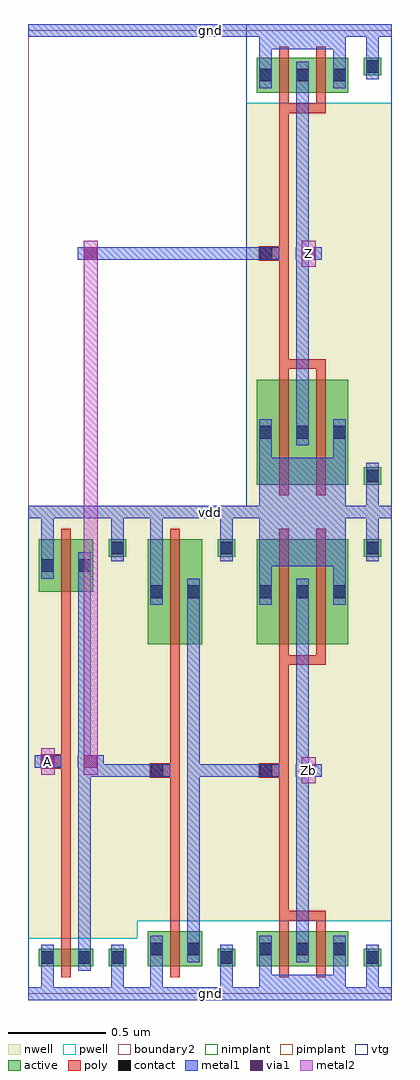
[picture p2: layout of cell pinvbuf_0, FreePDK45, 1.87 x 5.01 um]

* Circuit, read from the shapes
.subckt pinvbuf_0 A Z Zb gnd vdd
M1 pinv_6_1/A A gnd gnd nfet w=0.09u l=0.05u
M2 pinv_7_2/A pinv_6_1/A gnd gnd nfet w=0.18u l=0.05u
M3 Zb pinv_7_2/A gnd gnd nfet w=0.18u l=0.05u m=2
M4 Z pinv_6_1/A gnd gnd nfet w=0.18u l=0.05u m=2
M5 pinv_6_1/A A vdd vdd pfet w=0.27u l=0.05u
M6 pinv_7_2/A pinv_6_1/A vdd vdd pfet w=0.54u l=0.05u
M7 Zb pinv_7_2/A vdd vdd pfet w=0.54u l=0.05u m=2
M8 Z pinv_6_1/A vdd vdd pfet w=0.54u l=0.05u m=2
.ends

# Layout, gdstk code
import gdstk
lib = gdstk.Library(unit=1e-6, precision=5e-10)
def R(c, l, rs):  # rectangles x0, y0, x1, y1
    for r in rs: c.add(gdstk.rectangle(r[:2], r[2:], *l))
def A(c, l, x, y, w, h, nx, ny, dx, dy):  # array of equal rectangles
    R(c, l, [(x+i*dx, y+j*dy, x+i*dx+w, y+j*dy+h) for i in range(nx) for j in range(ny)])
active = (1, 0)
pwell = (2, 0)
nwell = (3, 0)
nimplant = (4, 0)
pimplant = (5, 0)
vtg = (6, 0)
poly = (9, 0)
contact = (10, 0)
metal1 = (11, 0)
via1 = (12, 0)
metal2 = (13, 0)
boundary2 = (239, 0)

contact_9 = lib.new_cell('contact_9')
R(contact_9, active, [(0,0.0225,0.09,0.1125)])
R(contact_9, nwell, [(-0.055,-0.0325,0.145,0.1675)])
R(contact_9, pimplant, [(0,0.0225,0.09,0.1125)])
R(contact_9, contact, [(0.0125,0.035,0.0775,0.1)])
R(contact_9, metal1, [(0.0125,0,0.0775,0.135)])

pmos_m1_w0_270_a_p = lib.new_cell('pmos_m1_w0_270_a_p')
R(pmos_m1_w0_270_a_p, active, [(0,0,0.28,0.27)])
R(pmos_m1_w0_270_a_p, nwell, [(-0.055,-0.055,0.335,0.325)])
R(pmos_m1_w0_270_a_p, pimplant, [(0,0,0.28,0.27)])
R(pmos_m1_w0_270_a_p, vtg, [(-0.055,-0.055,0.335,0.325)])
R(pmos_m1_w0_270_a_p, poly, [(0.115,-0.055,0.165,0.325), (0.115,-0.055,0.165,0.325)])
R(pmos_m1_w0_270_a_p, metal1, [(0.0125,0.0675,0.0775,0.2025), (0.2025,0.0675,0.2675,0.2025)])
pmos_m1_w0_270_a_p.add(gdstk.Reference(contact_9, (0,0.0675)))
pmos_m1_w0_270_a_p.add(gdstk.Reference(contact_9, (0.19,0.0675)))
pmos_m1_w0_270_a_p.add(gdstk.Label('G', (0.14,0.135), layer=9, texttype=0))
pmos_m1_w0_270_a_p.add(gdstk.Label('S', (0.045,0.135), layer=11, texttype=0))
pmos_m1_w0_270_a_p.add(gdstk.Label('D', (0.235,0.135), layer=11, texttype=0))

contact_14 = lib.new_cell('contact_14')
R(contact_14, active, [(0,0.0225,0.09,0.1125)])
R(contact_14, pwell, [(-0.055,-0.0325,0.145,0.1675)])
R(contact_14, nimplant, [(0,0.0225,0.09,0.1125)])
R(contact_14, contact, [(0.0125,0.035,0.0775,0.1)])
R(contact_14, metal1, [(0.0125,0,0.0775,0.135)])

nmos_m1_w0_090_a_p = lib.new_cell('nmos_m1_w0_090_a_p')
R(nmos_m1_w0_090_a_p, active, [(0,0,0.28,0.09)])
R(nmos_m1_w0_090_a_p, pwell, [(-0.055,-0.055,0.335,0.145)])
R(nmos_m1_w0_090_a_p, nimplant, [(0,0,0.28,0.09)])
R(nmos_m1_w0_090_a_p, vtg, [(-0.055,-0.055,0.335,0.145)])
R(nmos_m1_w0_090_a_p, poly, [(0.115,-0.055,0.165,0.145), (0.115,-0.055,0.165,0.145)])
R(nmos_m1_w0_090_a_p, metal1, [(0.0125,-0.0225,0.0775,0.1125), (0.2025,-0.0225,0.2675,0.1125)])
nmos_m1_w0_090_a_p.add(gdstk.Reference(contact_14, (0,-0.0225)))
nmos_m1_w0_090_a_p.add(gdstk.Reference(contact_14, (0.19,-0.0225)))
nmos_m1_w0_090_a_p.add(gdstk.Label('G', (0.14,0.045), layer=9, texttype=0))
nmos_m1_w0_090_a_p.add(gdstk.Label('S', (0.045,0.045), layer=11, texttype=0))
nmos_m1_w0_090_a_p.add(gdstk.Label('D', (0.235,0.045), layer=11, texttype=0))

contact_18 = lib.new_cell('contact_18')
R(contact_18, active, [(0,0.0225,0.09,0.1125)])
R(contact_18, nwell, [(-0.055,-0.0325,0.145,0.1675)])
R(contact_18, nimplant, [(0,0.0225,0.09,0.1125)])
R(contact_18, contact, [(0.0125,0.035,0.0775,0.1)])
R(contact_18, metal1, [(0.0125,0,0.0775,0.135)])

contact_19 = lib.new_cell('contact_19')
R(contact_19, active, [(0,0.0225,0.09,0.1125)])
R(contact_19, pwell, [(-0.055,-0.0325,0.145,0.1675)])
R(contact_19, pimplant, [(0,0.0225,0.09,0.1125)])
R(contact_19, contact, [(0.0125,0.035,0.0775,0.1)])
R(contact_19, metal1, [(0.0125,0,0.0775,0.135)])

contact_10 = lib.new_cell('contact_10')
R(contact_10, poly, [(0.03,0,0.105,0.075)])
R(contact_10, contact, [(0.035,0.005,0.1,0.07)])
R(contact_10, metal1, [(0,0.005,0.135,0.07)])

pinv_5 = lib.new_cell('pinv_5')
R(pinv_5, pwell, [(0,-0.0325,0.56,0.285)])
R(pinv_5, nwell, [(0,0.285,0.56,2.5075)])
R(pinv_5, vtg, [(0,-0.0325,0.56,0.285), (0,0.285,0.56,2.5075)])
R(pinv_5, poly, [(0.17,0.085,0.22,2.01), (0.1025,1.155,0.17,1.23)])
R(pinv_5, metal1, [(0,-0.0325,0.56,0.0325), (0.0675,-0.0325,0.1325,0.1175), (0.4275,0,0.4925,0.185), (0.2575,0.1175,0.3225,2.2675), (0.035,1.16,0.17,1.225), (0.29,1.16,0.355,1.225), (0.0675,2.1325,0.1325,2.5075), (0.4275,2.29,0.4925,2.475), (0,2.4425,0.56,2.5075)])
R(pinv_5, boundary2, [(0,0,0.56,2.475)])
pinv_5.add(gdstk.Reference(pmos_m1_w0_270_a_p, (0.055,2.065)))
pinv_5.add(gdstk.Reference(nmos_m1_w0_090_a_p, (0.055,0.14)))
pinv_5.add(gdstk.Reference(contact_18, (0.415,2.2225)))
pinv_5.add(gdstk.Reference(contact_19, (0.415,0.1175)))
pinv_5.add(gdstk.Reference(contact_10, (0.035,1.155)))
pinv_5.add(gdstk.Label('gnd', (0.28,0), layer=11, texttype=0))
pinv_5.add(gdstk.Label('vdd', (0.28,2.475), layer=11, texttype=0))
pinv_5.add(gdstk.Label('A', (0.1025,1.1925), layer=11, texttype=0))
pinv_5.add(gdstk.Label('Z', (0.3225,1.1925), layer=11, texttype=0))

pmos_m1_w0_540_a_p = lib.new_cell('pmos_m1_w0_540_a_p')
R(pmos_m1_w0_540_a_p, active, [(0,0,0.28,0.54)])
R(pmos_m1_w0_540_a_p, nwell, [(-0.055,-0.055,0.335,0.595)])
R(pmos_m1_w0_540_a_p, pimplant, [(0,0,0.28,0.54)])
R(pmos_m1_w0_540_a_p, vtg, [(-0.055,-0.055,0.335,0.595)])
R(pmos_m1_w0_540_a_p, poly, [(0.115,-0.055,0.165,0.595), (0.115,-0.055,0.165,0.595)])
R(pmos_m1_w0_540_a_p, metal1, [(0.0125,0.2025,0.0775,0.3375), (0.2025,0.2025,0.2675,0.3375)])
pmos_m1_w0_540_a_p.add(gdstk.Reference(contact_9, (0,0.2025)))
pmos_m1_w0_540_a_p.add(gdstk.Reference(contact_9, (0.19,0.2025)))
pmos_m1_w0_540_a_p.add(gdstk.Label('G', (0.14,0.27), layer=9, texttype=0))
pmos_m1_w0_540_a_p.add(gdstk.Label('S', (0.045,0.27), layer=11, texttype=0))
pmos_m1_w0_540_a_p.add(gdstk.Label('D', (0.235,0.27), layer=11, texttype=0))

nmos_m1_w0_180_a_p = lib.new_cell('nmos_m1_w0_180_a_p')
R(nmos_m1_w0_180_a_p, active, [(0,0,0.28,0.18)])
R(nmos_m1_w0_180_a_p, pwell, [(-0.055,-0.055,0.335,0.235)])
R(nmos_m1_w0_180_a_p, nimplant, [(0,0,0.28,0.18)])
R(nmos_m1_w0_180_a_p, vtg, [(-0.055,-0.055,0.335,0.235)])
R(nmos_m1_w0_180_a_p, poly, [(0.115,-0.055,0.165,0.235), (0.115,-0.055,0.165,0.235)])
R(nmos_m1_w0_180_a_p, metal1, [(0.0125,0.0225,0.0775,0.1575), (0.2025,0.0225,0.2675,0.1575)])
nmos_m1_w0_180_a_p.add(gdstk.Reference(contact_14, (0,0.0225)))
nmos_m1_w0_180_a_p.add(gdstk.Reference(contact_14, (0.19,0.0225)))
nmos_m1_w0_180_a_p.add(gdstk.Label('G', (0.14,0.09), layer=9, texttype=0))
nmos_m1_w0_180_a_p.add(gdstk.Label('S', (0.045,0.09), layer=11, texttype=0))
nmos_m1_w0_180_a_p.add(gdstk.Label('D', (0.235,0.09), layer=11, texttype=0))

pinv_6 = lib.new_cell('pinv_6')
R(pinv_6, pwell, [(0,-0.0325,0.56,0.375)])
R(pinv_6, nwell, [(0,0.375,0.56,2.5075)])
R(pinv_6, vtg, [(0,-0.0325,0.56,0.375), (0,0.375,0.56,2.5075)])
R(pinv_6, poly, [(0.17,0.085,0.22,1.74), (0.1025,1.11,0.17,1.185)])
R(pinv_6, metal1, [(0,-0.0325,0.56,0.0325), (0.0675,-0.0325,0.1325,0.1625), (0.4275,0,0.4925,0.185), (0.2575,0.1625,0.3225,2.1325), (0.035,1.115,0.17,1.18), (0.29,1.115,0.355,1.18), (0.0675,1.9975,0.1325,2.5075), (0.4275,2.29,0.4925,2.475), (0,2.4425,0.56,2.5075)])
R(pinv_6, boundary2, [(0,0,0.56,2.475)])
pinv_6.add(gdstk.Reference(pmos_m1_w0_540_a_p, (0.055,1.795)))
pinv_6.add(gdstk.Reference(nmos_m1_w0_180_a_p, (0.055,0.14)))
pinv_6.add(gdstk.Reference(contact_18, (0.415,2.2225)))
pinv_6.add(gdstk.Reference(contact_19, (0.415,0.1175)))
pinv_6.add(gdstk.Reference(contact_10, (0.035,1.11)))
pinv_6.add(gdstk.Label('gnd', (0.28,0), layer=11, texttype=0))
pinv_6.add(gdstk.Label('vdd', (0.28,2.475), layer=11, texttype=0))
pinv_6.add(gdstk.Label('A', (0.1025,1.1475), layer=11, texttype=0))
pinv_6.add(gdstk.Label('Z', (0.3225,1.1475), layer=11, texttype=0))

pmos_m2_w0_540_a_p = lib.new_cell('pmos_m2_w0_540_a_p')
R(pmos_m2_w0_540_a_p, active, [(0,0,0.47,0.54)])
R(pmos_m2_w0_540_a_p, nwell, [(-0.055,-0.055,0.525,0.595)])
R(pmos_m2_w0_540_a_p, pimplant, [(0,0,0.47,0.54)])
R(pmos_m2_w0_540_a_p, vtg, [(-0.055,-0.055,0.525,0.595)])
R(pmos_m2_w0_540_a_p, poly, [(0.115,-0.105,0.355,-0.055), (0.115,-0.055,0.165,0.595), (0.305,-0.055,0.355,0.595)])
R(pmos_m2_w0_540_a_p, metal1, [(0.2025,0.2025,0.2675,0.3375), (0.0125,0.27,0.0775,0.435), (0.3925,0.27,0.4575,0.435), (0.0125,0.4025,0.4575,0.4675)])
pmos_m2_w0_540_a_p.add(gdstk.Reference(contact_9, (0,0.2025)))
pmos_m2_w0_540_a_p.add(gdstk.Reference(contact_9, (0.38,0.2025)))
pmos_m2_w0_540_a_p.add(gdstk.Reference(contact_9, (0.19,0.2025)))
pmos_m2_w0_540_a_p.add(gdstk.Label('G', (0.235,-0.08), layer=9, texttype=0))
pmos_m2_w0_540_a_p.add(gdstk.Label('S', (0.235,0.435), layer=11, texttype=0))
pmos_m2_w0_540_a_p.add(gdstk.Label('D', (0.235,0.27), layer=11, texttype=0))

nmos_m2_w0_180_a_p = lib.new_cell('nmos_m2_w0_180_a_p')
R(nmos_m2_w0_180_a_p, active, [(0,0,0.47,0.18)])
R(nmos_m2_w0_180_a_p, pwell, [(-0.055,-0.055,0.525,0.235)])
R(nmos_m2_w0_180_a_p, nimplant, [(0,0,0.47,0.18)])
R(nmos_m2_w0_180_a_p, vtg, [(-0.055,-0.055,0.525,0.235)])
R(nmos_m2_w0_180_a_p, poly, [(0.115,-0.055,0.165,0.235), (0.305,-0.055,0.355,0.235), (0.115,0.235,0.355,0.285)])
R(nmos_m2_w0_180_a_p, metal1, [(0.0125,-0.1075,0.4575,-0.0425), (0.0125,-0.075,0.0775,0.09), (0.3925,-0.075,0.4575,0.09), (0.2025,0.0225,0.2675,0.1575)])
nmos_m2_w0_180_a_p.add(gdstk.Reference(contact_14, (0,0.0225)))
nmos_m2_w0_180_a_p.add(gdstk.Reference(contact_14, (0.38,0.0225)))
nmos_m2_w0_180_a_p.add(gdstk.Reference(contact_14, (0.19,0.0225)))
nmos_m2_w0_180_a_p.add(gdstk.Label('G', (0.235,0.26), layer=9, texttype=0))
nmos_m2_w0_180_a_p.add(gdstk.Label('S', (0.235,-0.075), layer=11, texttype=0))
nmos_m2_w0_180_a_p.add(gdstk.Label('D', (0.235,0.09), layer=11, texttype=0))

pinv_7 = lib.new_cell('pinv_7')
R(pinv_7, pwell, [(0,-0.0325,0.75,0.375)])
R(pinv_7, nwell, [(0,0.375,0.75,2.5075)])
R(pinv_7, vtg, [(0,-0.0325,0.75,0.375), (0,0.375,0.75,2.5075)])
R(pinv_7, poly, [(0.17,0.375,0.22,1.69), (0.1025,1.11,0.17,1.185)])
R(pinv_7, metal1, [(0,-0.0325,0.75,0.0325), (0.0675,-0.0325,0.5125,0.0325), (0.6175,0,0.6825,0.185), (0.2575,0.1625,0.3225,2.1325), (0.035,1.115,0.17,1.18), (0.29,1.115,0.355,1.18), (0.0675,2.1975,0.5125,2.5075), (0.6175,2.29,0.6825,2.475), (0,2.4425,0.75,2.5075)])
R(pinv_7, boundary2, [(0,0,0.75,2.475)])
pinv_7.add(gdstk.Reference(pmos_m2_w0_540_a_p, (0.055,1.795)))
pinv_7.add(gdstk.Reference(nmos_m2_w0_180_a_p, (0.055,0.14)))
pinv_7.add(gdstk.Reference(contact_18, (0.605,2.2225)))
pinv_7.add(gdstk.Reference(contact_19, (0.605,0.1175)))
pinv_7.add(gdstk.Reference(contact_10, (0.035,1.11)))
pinv_7.add(gdstk.Label('gnd', (0.375,0), layer=11, texttype=0))
pinv_7.add(gdstk.Label('vdd', (0.375,2.475), layer=11, texttype=0))
pinv_7.add(gdstk.Label('A', (0.1025,1.1475), layer=11, texttype=0))
pinv_7.add(gdstk.Label('Z', (0.3225,1.1475), layer=11, texttype=0))

contact_16 = lib.new_cell('contact_16')
R(contact_16, metal1, [(0,0.035,0.135,0.1)])
R(contact_16, via1, [(0.035,0.035,0.1,0.1)])
R(contact_16, metal2, [(0.0325,0,0.1025,0.135)])

pinvbuf_0 = lib.new_cell('pinvbuf_0')
A(pinvbuf_0, metal1, 0, -0.0325, 1.87, 0.065, 1, 3, 0, 2.475)
R(pinvbuf_0, metal1, [(0.29,1.115,0.355,1.18), (0.3225,1.115,0.6625,1.18), (0.8825,1.115,1.2225,1.18), (0.29,1.1475,0.355,1.1925), (0.3225,3.77,1.2225,3.835)])
R(pinvbuf_0, metal2, [(1.4075,1.1125,1.4775,1.1825), (0.0675,1.1575,0.1375,1.2275), (0.2875,1.1925,0.3575,3.8025), (1.4075,3.7675,1.4775,3.8375)])
R(pinvbuf_0, boundary2, [(0,0,1.87,4.95)])
pinvbuf_0.add(gdstk.Reference(pinv_5, (0,0)))
pinvbuf_0.add(gdstk.Reference(pinv_6, (0.56,0)))
pinvbuf_0.add(gdstk.Reference(pinv_7, (1.12,0)))
pinvbuf_0.add(gdstk.Reference(pinv_7, (1.12,4.95), x_reflection=True))
pinvbuf_0.add(gdstk.Reference(contact_16, (0.255,3.735)))
pinvbuf_0.add(gdstk.Reference(contact_16, (0.255,1.125)))
pinvbuf_0.add(gdstk.Reference(contact_16, (1.375,3.735)))
pinvbuf_0.add(gdstk.Reference(contact_16, (1.375,1.08)))
pinvbuf_0.add(gdstk.Reference(contact_16, (0.035,1.125)))
pinvbuf_0.add(gdstk.Label('vdd', (0.935,2.475), layer=11, texttype=0))
pinvbuf_0.add(gdstk.Label('gnd', (0.935,0), layer=11, texttype=0))
pinvbuf_0.add(gdstk.Label('gnd', (0.935,4.95), layer=11, texttype=0))
pinvbuf_0.add(gdstk.Label('Z', (1.4425,3.8025), layer=13, texttype=0))
pinvbuf_0.add(gdstk.Label('Zb', (1.4425,1.1475), layer=13, texttype=0))
pinvbuf_0.add(gdstk.Label('A', (0.1025,1.1925), layer=13, texttype=0))

lib.write_gds('pinvbuf_0.gds')
